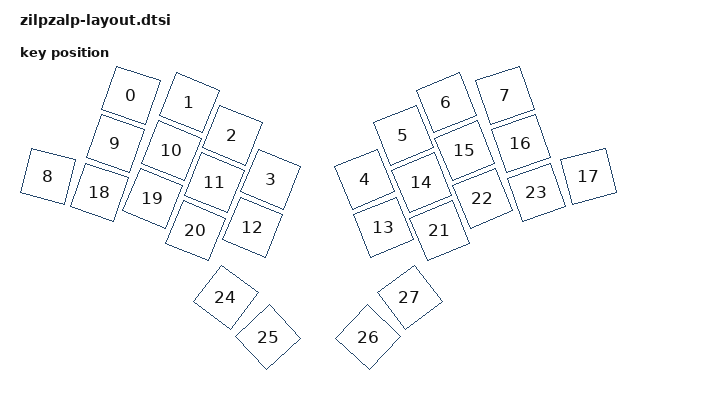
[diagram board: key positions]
#include <physical_layouts.dtsi>

/ {
    zilpzalp_layout: zilpzalp_layout {
        compatible = "zmk,physical-layout";
        display-name = "Default";

        keys  //                     w   h    x    y     rot    rx    ry
            = <&key_physical_attrs 100 100  166    0    1900   216    50>
            , <&key_physical_attrs 100 100  283   15    2200   333    65>
            , <&key_physical_attrs 100 100  369   80    2200   419   130>
            , <&key_physical_attrs 100 100  446  168    2200   496   218>
            , <&key_physical_attrs 100 100  634  168 (-2200)   684   218>
            , <&key_physical_attrs 100 100  711   80 (-2200)   761   130>
            , <&key_physical_attrs 100 100  797   15 (-2200)   847    65>
            , <&key_physical_attrs 100 100  914    0 (-1900)   964    50>
            , <&key_physical_attrs 100 100    0  162    1400    50   212>
            , <&key_physical_attrs 100 100  135   97    1900   185   147>
            , <&key_physical_attrs 100 100  247  111    2200   297   161>
            , <&key_physical_attrs 100 100  333  175    2200   383   225>
            , <&key_physical_attrs 100 100  410  264    2200   460   314>
            , <&key_physical_attrs 100 100  671  264 (-2200)   721   314>
            , <&key_physical_attrs 100 100  748  175 (-2200)   798   225>
            , <&key_physical_attrs 100 100  834  111 (-2200)   884   161>
            , <&key_physical_attrs 100 100  946   97 (-1900)   996   147>
            , <&key_physical_attrs 100 100 1082  162 (-1400)  1132   212>
            , <&key_physical_attrs 100 100  103  194    1900   153   244>
            , <&key_physical_attrs 100 100  210  206    2200   260   256>
            , <&key_physical_attrs 100 100  296  271    2200   346   321>
            , <&key_physical_attrs 100 100  784  271 (-2200)   834   321>
            , <&key_physical_attrs 100 100  870  206 (-2200)   920   256>
            , <&key_physical_attrs 100 100  977  194 (-1900)  1028   244>
            , <&key_physical_attrs 100 100  356  404    3700   406   454>
            , <&key_physical_attrs 100 100  441  484 (-4300)   491   535>
            , <&key_physical_attrs 100 100  640  484    4300   690   535>
            , <&key_physical_attrs 100 100  724  404 (-3700)   774   454>
            ;
    };
};
